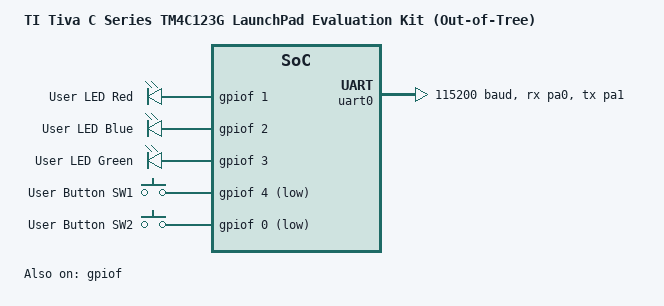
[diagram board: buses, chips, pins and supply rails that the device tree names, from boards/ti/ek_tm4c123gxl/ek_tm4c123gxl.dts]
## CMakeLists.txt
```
cmake_minimum_required(VERSION 3.20.0)

# Discover out-of-tree boards in this repository
list(APPEND BOARD_ROOT ${CMAKE_CURRENT_SOURCE_DIR})

find_package(Zephyr REQUIRED HINTS $ENV{ZEPHYR_BASE})
project(tm4c123_app)

target_sources(app PRIVATE
    src/main.c
    drivers/gpio/gpio_tiva_c.c
)
```

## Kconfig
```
# SPDX-License-Identifier: Apache-2.0

mainmenu "TM4C123 Zephyr Application"

# Source Zephyr's root Kconfig tree
source "Kconfig.zephyr"

menu "TM4C123 Application Configuration"

config APP_WELCOME_BANNER
	bool "Display custom welcome banner on boot"
	default y
	help
	  When enabled, the application prints a formatted system banner
	  detailing hardware platform, RTOS version, and CLI commands.

config APP_ENABLE_DTS_INSPECTION_CMD
	bool "Enable runtime Devicetree introspection shell command"
	default y
	help
	  Exposes the 'tm4c dts' shell command to introspect hardware configuration
	  and compile-time Devicetree properties from the interactive CLI.

config APP_ENABLE_GPIO_DEMO
	bool "Enable GPIO LED and Button control subsystem"
	default y
	help
	  Initializes on-board RGB LEDs (PF1, PF2, PF3) and pushbuttons
	  SW1 (PF4) and SW2 (PF0) with interrupt handlers and shell commands.

endmenu
```

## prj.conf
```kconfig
# Zephyr Application Configuration for TM4C123GXL
CONFIG_PRINTK=y
CONFIG_SERIAL=y
CONFIG_CONSOLE=y
CONFIG_UART_CONSOLE=y
CONFIG_GPIO=y

# Shell Subsystem
CONFIG_SHELL=y
CONFIG_SHELL_BACKENDS=y
CONFIG_SHELL_BACKEND_SERIAL=y
CONFIG_SHELL_PROMPT_UART="tm4c:~$ "

# Useful Built-in Shell Commands
CONFIG_SHELL_CMDS=y
CONFIG_DEVICE_SHELL=y
CONFIG_KERNEL_SHELL=y
CONFIG_DATE_SHELL=n

# Shell Stack & Buffer Tuning for 32KB RAM
CONFIG_SHELL_STACK_SIZE=2048
CONFIG_SHELL_BACKEND_SERIAL_RX_RING_BUFFER_SIZE=128
```

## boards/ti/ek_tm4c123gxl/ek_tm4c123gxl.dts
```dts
/*
 * SPDX-License-Identifier: Apache-2.0
 *
 * TI Tiva C Series TM4C123G LaunchPad (EK-TM4C123GXL)
 * Out-of-tree board definition
 */

/dts-v1/;

#include <ti/tm4c123gh6pm.dtsi>
#include <dt-bindings/pinctrl/tiva-c-pinctrl.h>
#include <zephyr/dt-bindings/gpio/gpio.h>

/*
 * Pin configuration node for UART0.
 * Encoded with TIVA_C_PINMUX(port, pin, mux, type).
 */
&pinctrl {
	uart0_rx_pa0: uart0_rx_pa0 {
		pinmux = <TIVA_C_PINMUX(TIVA_C_PORT_A, 0, 1, TIVA_C_TYPE_UART)>;
	};

	uart0_tx_pa1: uart0_tx_pa1 {
		pinmux = <TIVA_C_PINMUX(TIVA_C_PORT_A, 1, 1, TIVA_C_TYPE_UART)>;
	};
};

/ {
	compatible = "ti,ek-tm4c123gxl", "ti,tm4c123gh6pm";
	model = "TI Tiva C Series TM4C123G LaunchPad Evaluation Kit (Out-of-Tree)";

	chosen {
		zephyr,sram = &sram0;
		zephyr,flash = &flash0;
		zephyr,console = &uart0;
		zephyr,shell-uart = &uart0;
	};

	leds {
		compatible = "gpio-leds";
		led_red: led_0 {
			gpios = <&gpiof 1 GPIO_ACTIVE_HIGH>;
			label = "User LED Red";
		};
		led_blue: led_1 {
			gpios = <&gpiof 2 GPIO_ACTIVE_HIGH>;
			label = "User LED Blue";
		};
		led_green: led_2 {
			gpios = <&gpiof 3 GPIO_ACTIVE_HIGH>;
			label = "User LED Green";
		};
	};

	buttons {
		compatible = "gpio-keys";
		btn_sw1: button_0 {
			gpios = <&gpiof 4 (GPIO_PULL_UP | GPIO_ACTIVE_LOW)>;
			label = "User Button SW1";
		};
		btn_sw2: button_1 {
			gpios = <&gpiof 0 (GPIO_PULL_UP | GPIO_ACTIVE_LOW)>;
			label = "User Button SW2";
		};
	};

	aliases {
		uart-0 = &uart0;
		led0 = &led_red;
		led1 = &led_blue;
		led2 = &led_green;
		sw0 = &btn_sw1;
		sw1 = &btn_sw2;
	};

	soc {
		gpiof: gpio@40025000 {
			compatible = "ti,tiva-c-gpio";
			reg = <0x40025000 0x1000>;
			interrupts = <30 3>;
			gpio-controller;
			#gpio-cells = <2>;
			ngpios = <5>;
			status = "okay";
		};
	};
};

/* UART0 is connected to the on-board ICDI virtual COM port (PA0/PA1) */
&uart0 {
	current-speed = <115200>;
	pinctrl-0 = <&uart0_rx_pa0 &uart0_tx_pa1>;
	pinctrl-names = "default";
	status = "okay";
};
```

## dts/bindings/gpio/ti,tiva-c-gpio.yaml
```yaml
# SPDX-License-Identifier: Apache-2.0

description: TI Tiva C Series GPIO Controller

compatible: "ti,tiva-c-gpio"

include: [gpio-controller.yaml, base.yaml]

properties:
  reg:
    required: true

  interrupts:
    required: true

  "#gpio-cells":
    const: 2

gpio-cells:
  - pin
  - flags
```

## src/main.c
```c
/*
 * Copyright (c) 2026
 * SPDX-License-Identifier: Apache-2.0
 */

#include <string.h>
#include <zephyr/kernel.h>
#include <zephyr/sys/printk.h>
#include <zephyr/version.h>
#include <zephyr/shell/shell.h>
#include <zephyr/devicetree.h>

#if IS_ENABLED(CONFIG_APP_ENABLE_GPIO_DEMO)
#include <zephyr/drivers/gpio.h>

/* LED DT Specs */
static const struct gpio_dt_spec led_red = GPIO_DT_SPEC_GET(DT_ALIAS(led0), gpios);
static const struct gpio_dt_spec led_blue = GPIO_DT_SPEC_GET(DT_ALIAS(led1), gpios);
static const struct gpio_dt_spec led_green = GPIO_DT_SPEC_GET(DT_ALIAS(led2), gpios);

/* Button DT Specs */
static const struct gpio_dt_spec btn_sw1 = GPIO_DT_SPEC_GET(DT_ALIAS(sw0), gpios);
static const struct gpio_dt_spec btn_sw2 = GPIO_DT_SPEC_GET(DT_ALIAS(sw1), gpios);

static struct gpio_callback btn_cb_data;
static volatile uint32_t sw1_press_count;
static volatile uint32_t sw2_press_count;

static void button_pressed_callback(const struct device *dev,
				    struct gpio_callback *cb,
				    uint32_t pins)
{
	ARG_UNUSED(dev);
	ARG_UNUSED(cb);

	if (pins & BIT(btn_sw1.pin)) {
		sw1_press_count++;
		gpio_pin_toggle_dt(&led_red);
	}

	if (pins & BIT(btn_sw2.pin)) {
		sw2_press_count++;
		gpio_pin_toggle_dt(&led_blue);
	}
}

static int init_gpios(void)
{
	int ret;

	if (!gpio_is_ready_dt(&led_red) ||
	    !gpio_is_ready_dt(&led_blue) ||
	    !gpio_is_ready_dt(&led_green)) {
		printk("Error: LED GPIO device not ready\n");
		return -ENODEV;
	}

	gpio_pin_configure_dt(&led_red, GPIO_OUTPUT_INACTIVE);
	gpio_pin_configure_dt(&led_blue, GPIO_OUTPUT_INACTIVE);
	gpio_pin_configure_dt(&led_green, GPIO_OUTPUT_INACTIVE);

	if (!gpio_is_ready_dt(&btn_sw1) || !gpio_is_ready_dt(&btn_sw2)) {
		printk("Error: Button GPIO device not ready\n");
		return -ENODEV;
	}

	gpio_pin_configure_dt(&btn_sw1, GPIO_INPUT);
	gpio_pin_configure_dt(&btn_sw2, GPIO_INPUT);

	gpio_pin_interrupt_configure_dt(&btn_sw1, GPIO_INT_EDGE_TO_ACTIVE);
	gpio_pin_interrupt_configure_dt(&btn_sw2, GPIO_INT_EDGE_TO_ACTIVE);

	gpio_init_callback(&btn_cb_data, button_pressed_callback,
			   BIT(btn_sw1.pin) | BIT(btn_sw2.pin));
	ret = gpio_add_callback(btn_sw1.port, &btn_cb_data);
	if (ret < 0) {
		printk("Error: Failed to register button callback (%d)\n", ret);
	}

	return 0;
}

/* Custom Shell Command: tm4c led <red|blue|green|all> <on|off|toggle> */
static int cmd_tm4c_led(const struct shell *sh, size_t argc, char **argv)
{
	if (argc < 3) {
		shell_print(sh, "Usage: tm4c led <red|blue|green|all> <on|off|toggle>");
		return -EINVAL;
	}

	const char *color = argv[1];
	const char *action = argv[2];
	const struct gpio_dt_spec *target_led = NULL;
	bool is_all = false;

	if (strcmp(color, "red") == 0) {
		target_led = &led_red;
	} else if (strcmp(color, "blue") == 0) {
		target_led = &led_blue;
	} else if (strcmp(color, "green") == 0) {
		target_led = &led_green;
	} else if (strcmp(color, "all") == 0) {
		is_all = true;
	} else {
		shell_print(sh, "Unknown color '%s'. Use: red, blue, green, all", color);
		return -EINVAL;
	}

	if (strcmp(action, "on") == 0) {
		if (is_all) {
			gpio_pin_set_dt(&led_red, 1);
			gpio_pin_set_dt(&led_blue, 1);
			gpio_pin_set_dt(&led_green, 1);
		} else {
			gpio_pin_set_dt(target_led, 1);
		}
		shell_print(sh, "LED '%s' set to ON", color);
	} else if (strcmp(action, "off") == 0) {
		if (is_all) {
			gpio_pin_set_dt(&led_red, 0);
			gpio_pin_set_dt(&led_blue, 0);
			gpio_pin_set_dt(&led_green, 0);
		} else {
			gpio_pin_set_dt(target_led, 0);
		}
		shell_print(sh, "LED '%s' set to OFF", color);
	} else if (strcmp(action, "toggle") == 0) {
		if (is_all) {
			gpio_pin_toggle_dt(&led_red);
			gpio_pin_toggle_dt(&led_blue);
			gpio_pin_toggle_dt(&led_green);
		} else {
			gpio_pin_toggle_dt(target_led);
		}
		shell_print(sh, "LED '%s' toggled", color);
	} else {
		shell_print(sh, "Unknown action '%s'. Use: on, off, toggle", action);
		return -EINVAL;
	}

	return 0;
}

/* Custom Shell Command: tm4c button */
static int cmd_tm4c_button(const struct shell *sh, size_t argc, char **argv)
{
	ARG_UNUSED(argc);
	ARG_UNUSED(argv);

	int sw1_val = gpio_pin_get_dt(&btn_sw1);
	int sw2_val = gpio_pin_get_dt(&btn_sw2);

	shell_print(sh, "=== Pushbutton Telemetry ===");
	shell_print(sh, "  SW1 (PF4) : %s (Presses: %u)",
		    sw1_val > 0 ? "PRESSED" : "RELEASED", sw1_press_count);
	shell_print(sh, "  SW2 (PF0) : %s (Presses: %u)",
		    sw2_val > 0 ? "PRESSED" : "RELEASED", sw2_press_count);
	shell_print(sh, "============================");
	return 0;
}
#endif

/* Custom Shell Command: tm4c info */
static int cmd_tm4c_info(const struct shell *sh, size_t argc, char **argv)
{
	ARG_UNUSED(argc);
	ARG_UNUSED(argv);

	shell_print(sh, "========================================");
	shell_print(sh, "  Target Board : %s", CONFIG_BOARD_TARGET);
	shell_print(sh, "  SOC          : TI TM4C123GH6PM (ARM Cortex-M4F)");
	shell_print(sh, "  Clock        : 80 MHz");
	shell_print(sh, "  Flash / RAM  : 256 KB Flash / 32 KB SRAM");
	shell_print(sh, "  Peripherals  : UART0, RGB LED (PF1-3), SW1/SW2 (PF4,0)");
	shell_print(sh, "  Zephyr RTOS  : %s", KERNEL_VERSION_STRING);
	shell_print(sh, "========================================");
	return 0;
}

/* Custom Shell Command: tm4c uptime */
static int cmd_tm4c_uptime(const struct shell *sh, size_t argc, char **argv)
{
	ARG_UNUSED(argc);
	ARG_UNUSED(argv);

	int64_t uptime_ms = k_uptime_get();
	uint32_t secs = (uint32_t)(uptime_ms / 1000);
	uint32_t mins = secs / 60;
	uint32_t hours = mins / 60;

	shell_print(sh, "System Uptime: %u h %u m %u s (%lld ms)",
		    hours, mins % 60, secs % 60, uptime_ms);
	return 0;
}

#if IS_ENABLED(CONFIG_APP_ENABLE_DTS_INSPECTION_CMD)
/* Custom Shell Command: tm4c dts (Devicetree Introspection) */
static int cmd_tm4c_dts(const struct shell *sh, size_t argc, char **argv)
{
	ARG_UNUSED(argc);
	ARG_UNUSED(argv);

	shell_print(sh, "=== Devicetree Compile-Time Introspection ===");
	shell_print(sh, "Target Board  : %s", CONFIG_BOARD_TARGET);
	shell_print(sh, "UART0 Status  : %s (Baud: %d)",
		    DT_NODE_HAS_STATUS(DT_NODELABEL(uart0), okay) ? "okay" : "disabled",
		    DT_PROP(DT_NODELABEL(uart0), current_speed));
	shell_print(sh, "SRAM Base/Size: 0x%08x / %u KB",
		    (uint32_t)DT_REG_ADDR(DT_NODELABEL(sram0)),
		    (uint32_t)(DT_REG_SIZE(DT_NODELABEL(sram0)) / 1024));
	shell_print(sh, "Flash Base/Sz : 0x%08x / %u KB",
		    (uint32_t)DT_REG_ADDR(DT_NODELABEL(flash0)),
		    (uint32_t)(DT_REG_SIZE(DT_NODELABEL(flash0)) / 1024));
	shell_print(sh, "LED0 (Red)    : Port F Pin 1 (Active High)");
	shell_print(sh, "LED1 (Blue)   : Port F Pin 2 (Active High)");
	shell_print(sh, "LED2 (Green)  : Port F Pin 3 (Active High)");
	shell_print(sh, "SW0 (Btn 1)   : Port F Pin 4 (Pull-Up, Active Low)");
	shell_print(sh, "SW1 (Btn 2)   : Port F Pin 0 (Pull-Up, Active Low)");
	shell_print(sh, "=============================================");
	return 0;
}
#endif

SHELL_STATIC_SUBCMD_SET_CREATE(sub_tm4c,
	SHELL_CMD(info, NULL, "Print board & hardware specifications", cmd_tm4c_info),
	SHELL_CMD(uptime, NULL, "Print formatted system uptime", cmd_tm4c_uptime),
#if IS_ENABLED(CONFIG_APP_ENABLE_DTS_INSPECTION_CMD)
	SHELL_CMD(dts, NULL, "Print Devicetree compile-time properties", cmd_tm4c_dts),
#endif
#if IS_ENABLED(CONFIG_APP_ENABLE_GPIO_DEMO)
	SHELL_CMD_ARG(led, NULL, "Control on-board RGB LED: tm4c led <red|blue|green|all> <on|off|toggle>", cmd_tm4c_led, 3, 0),
	SHELL_CMD(button, NULL, "Read SW1/SW2 pushbutton status & press counts", cmd_tm4c_button),
#endif
	SHELL_SUBCMD_SET_END
);

SHELL_CMD_REGISTER(tm4c, &sub_tm4c, "TM4C123 LaunchPad custom commands", NULL);

int main(void)
{
#if IS_ENABLED(CONFIG_APP_ENABLE_GPIO_DEMO)
	init_gpios();
#endif

#if IS_ENABLED(CONFIG_APP_WELCOME_BANNER)
	printk("\n");
	printk("==============================================\n");
	printk("   TI TM4C123GXL Zephyr Shell Terminal\n");
	printk("   Zephyr OS %s | Board: %s\n", KERNEL_VERSION_STRING, CONFIG_BOARD_TARGET);
	printk("   RGB LEDs & SW1/SW2 Buttons: Initialized\n");
	printk("   Type 'help' or 'tm4c --help' for commands\n");
	printk("==============================================\n\n");
#endif

	/* Main thread can sleep; the shell runs in its own dedicated thread */
	while (1) {
		k_sleep(K_FOREVER);
	}

	return 0;
}
```
